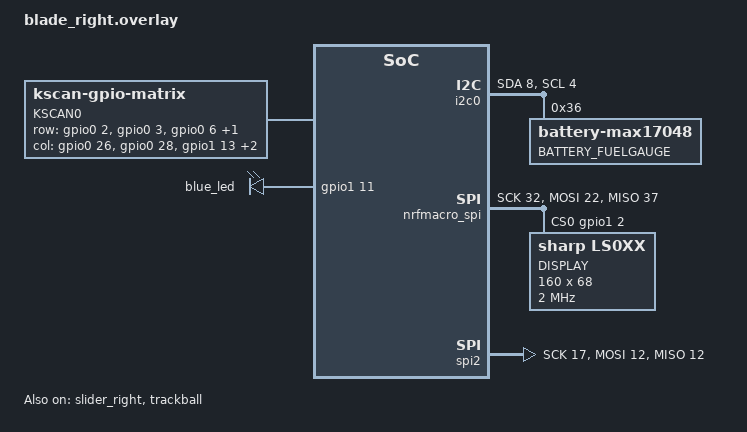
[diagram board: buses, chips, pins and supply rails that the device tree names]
/*
 * Copyright (c) 2020 The ZMK Contributors
 *
 * SPDX-License-Identifier: MIT
 */

#include "blade.dtsi"

/* overrides nrfmacro.dts defaults */ 
&blue_led {
  gpios = <&gpio1 11 GPIO_ACTIVE_HIGH>;
};

&vcc_ctrl {
  control-gpios = <&gpio1 10 GPIO_ACTIVE_LOW>;
};

&vbatt {
  status = "disabled";
};

/*  adjust matrix transform for pepripheral split */
&default_transform {
	col-offset = <5>;
};

/* Define kscan pins */
/ {
	kscan0: kscan0 {
		compatible = "zmk,kscan-gpio-matrix";
		label = "KSCAN0";

		diode-direction = "col2row";
		row-gpios
			= <&gpio0 2 (GPIO_ACTIVE_HIGH | GPIO_PULL_DOWN)>
			, <&gpio0 3 (GPIO_ACTIVE_HIGH | GPIO_PULL_DOWN)>
			, <&gpio0 6 (GPIO_ACTIVE_HIGH | GPIO_PULL_DOWN)>
			, <&gpio0 5 (GPIO_ACTIVE_HIGH | GPIO_PULL_DOWN)>
			;
   	col-gpios
  		= <&gpio0 26 GPIO_ACTIVE_HIGH>
	  	, <&gpio0 28 GPIO_ACTIVE_HIGH>
		  , <&gpio1 13 GPIO_ACTIVE_HIGH>
		  , <&gpio0 30 GPIO_ACTIVE_HIGH>
		  , <&gpio0 31 GPIO_ACTIVE_HIGH>
		  ;
	};
};

&kscan {
		touch_keys {
      kscan = <&slider_right>;
      row-offset = <4>;
		};
};

/* Enable the right slider and define its pins */
&slider_right {
  status = "okay";
  invert-direction;
	int-gpios = <&gpio1  9 (GPIO_ACTIVE_LOW | GPIO_PULL_UP)>;
};

/* Enable fuel gauge */
&chosen {
  zmk,battery = &fuel_gauge;
};

/* Define sda and scl pins */
&i2c0 {
	sda-pin = <8>;
  scl-pin = <4>;

  /* Define the fuel gauge */
  fuel_gauge: fuel_gauge@36 {
	  compatible = "zmk,battery-max17048";
	  label = "BATTERY_FUELGAUGE";
    reg = <0x36>;
  };
};

/* Define display */ 
&chosen {
	zephyr,display = &lcd;
};

&nrfmacro_spi {
  // activate this device
  status = "okay";

  compatible = "nordic,nrf-spim";
  sck-pin = <32>;
  mosi-pin = <22>;
  cs-gpios = <&gpio1 2 GPIO_ACTIVE_HIGH>;
  // Unused pin, needed for SPI definition, but not used by the display driver itself.
  miso-pin = <37>; // 1.05 is not broken out on the E73

	lcd: ls0xx@0 {
		compatible = "sharp,ls0xx";
		label = "DISPLAY";
		spi-max-frequency = <2000000>;
		reg = <0>;
		width = <160>;
		height = <68>;
		// extcomin-gpios = <&pro_micro 2 GPIO_ACTIVE_HIGH>;
		// extcomin-frequency = <60>;
		// disp-en-gpios = <&pro_micro 3 GPIO_ACTIVE_HIGH>; 
	};
};

/* Enable spi2 bus and the trackball, and define their pins */
&spi2 {
  status = "okay";
  sck-pin = <17>;
  mosi-pin = <12>;
  miso-pin = <12>; // same as mosi (3-wire spi)
  cs-gpios = <&gpio0 24 GPIO_ACTIVE_LOW>;
};

&trackball {
  status = "okay";
  irq-gpios = <&gpio0 13 (GPIO_ACTIVE_LOW | GPIO_PULL_UP)>;
};

/* Enable the right encoder and define its pins */
// &right_encoder {
// 	status = "okay";
//	a-gpios = <&gpio1 4 (GPIO_ACTIVE_LOW | GPIO_PULL_UP)>;
//	b-gpios = <&gpio1 6 (GPIO_ACTIVE_LOW | GPIO_PULL_UP)>;
// };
